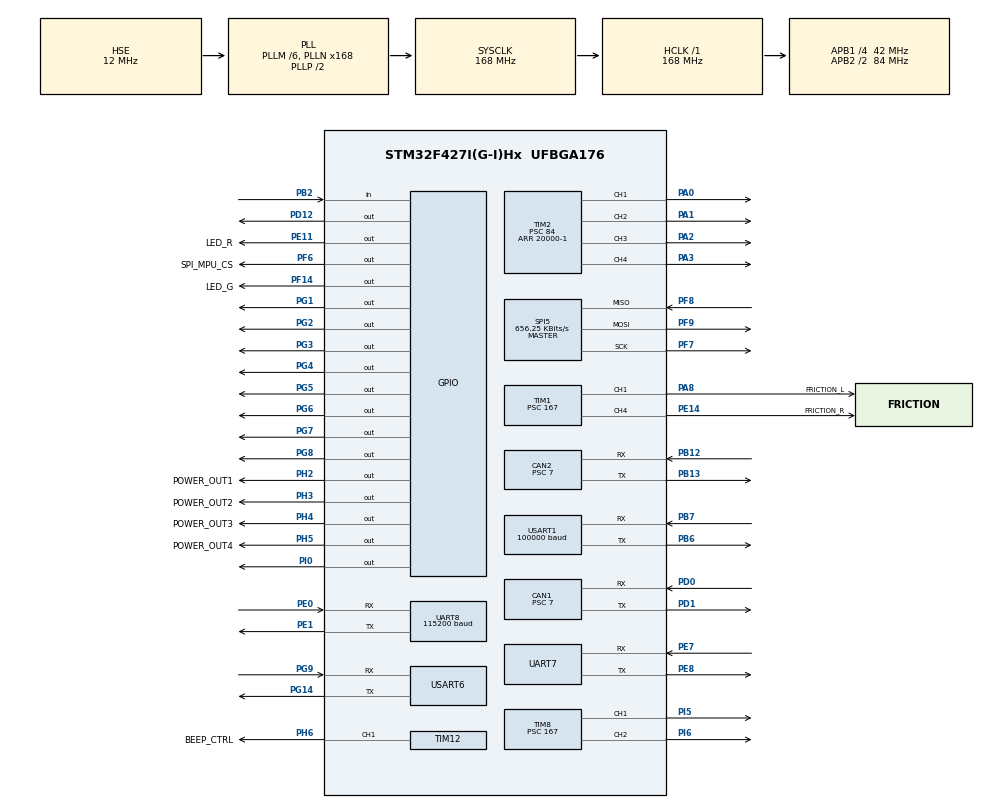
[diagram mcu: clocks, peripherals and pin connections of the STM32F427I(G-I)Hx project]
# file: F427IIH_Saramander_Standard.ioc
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CAN1.BS1=CAN_BS1_2TQ
CAN1.BS2=CAN_BS2_3TQ
CAN1.CalculateTimeQuantum=166.66666666666669
CAN1.Prescaler=7
CAN1.TXFP=ENABLE
CAN2.BS1=CAN_BS1_2TQ
CAN2.BS2=CAN_BS2_3TQ
CAN2.CalculateTimeQuantum=166.66666666666669
CAN2.Prescaler=7
CAN2.TXFP=ENABLE
Mcu.Family=STM32F4
Mcu.Name=STM32F427I(G-I)Hx
Mcu.Package=UFBGA176
NVIC.CAN1_RX0_IRQn=true\:0\:0\:false\:false\:true\:true\:true
NVIC.CAN1_RX1_IRQn=true\:0\:0\:false\:false\:true\:true\:true
NVIC.CAN2_RX0_IRQn=true\:0\:0\:false\:false\:true\:true\:true
NVIC.CAN2_RX1_IRQn=true\:0\:0\:false\:false\:true\:true\:true
NVIC.PriorityGroup=NVIC_PRIORITYGROUP_4
NVIC.TIM6_DAC_IRQn=true\:1\:0\:true\:false\:true\:true\:true
NVIC.USART1_IRQn=true\:0\:0\:false\:false\:true\:true\:true
NVIC.USART6_IRQn=true\:0\:0\:false\:false\:true\:true\:true
PA0/WKUP.Signal=S_TIM2_CH1_ETR
PA1.Signal=S_TIM2_CH2
PA13.Mode=Serial_Wire
PA13.Signal=SYS_JTMS-SWDIO
PA14.Mode=Serial_Wire
PA14.Signal=SYS_JTCK-SWCLK
PA2.Signal=S_TIM2_CH3
PA3.Signal=S_TIM2_CH4
PA8.GPIO_Label=FRICTION_L
PA8.Signal=S_TIM1_CH1
PB12.Mode=Slave
PB12.Signal=CAN2_RX
PB13.Mode=Slave
PB13.Signal=CAN2_TX
PB2/BOOT1.Signal=GPIO_Input
PB6.Mode=Asynchronous
PB6.Signal=USART1_TX
PB7.Mode=Asynchronous
PB7.Signal=USART1_RX
PD0.Mode=Master
PD0.Signal=CAN1_RX
PD1.Mode=Master
PD1.Signal=CAN1_TX
PD12.Signal=GPIO_Output
PE0.Mode=Asynchronous
PE0.Signal=UART8_RX
PE1.Mode=Asynchronous
PE1.Signal=UART8_TX
PE11.GPIO_Label=LED_R
PE11.Signal=GPIO_Output
PE14.GPIO_Label=FRICTION_R
PE14.Signal=S_TIM1_CH4
PE7.Mode=Asynchronous
PE7.Signal=UART7_RX
PE8.Mode=Asynchronous
PE8.Signal=UART7_TX
PF14.GPIO_Label=LED_G
PF14.Signal=GPIO_Output
PF6.GPIO_Label=SPI_MPU_CS
PF6.Signal=GPIO_Output
PF7.Mode=Full_Duplex_Master
PF7.Signal=SPI5_SCK
PF8.Mode=Full_Duplex_Master
PF8.Signal=SPI5_MISO
PF9.Mode=Full_Duplex_Master
PF9.Signal=SPI5_MOSI
PG1.Signal=GPIO_Output
PG14.Mode=Asynchronous
PG14.Signal=USART6_TX
PG2.Signal=GPIO_Output
PG3.Signal=GPIO_Output
PG4.Signal=GPIO_Output
PG5.Signal=GPIO_Output
PG6.Signal=GPIO_Output
PG7.Signal=GPIO_Output
PG8.Signal=GPIO_Output
PG9.Mode=Asynchronous
PG9.Signal=USART6_RX
PH0/OSC_IN.Mode=HSE-External-Oscillator
PH0/OSC_IN.Signal=RCC_OSC_IN
PH1/OSC_OUT.Mode=HSE-External-Oscillator
PH1/OSC_OUT.Signal=RCC_OSC_OUT
PH2.GPIO_Label=POWER_OUT1
PH2.Signal=GPIO_Output
PH3.GPIO_Label=POWER_OUT2
PH3.Signal=GPIO_Output
PH4.GPIO_Label=POWER_OUT3
PH4.Signal=GPIO_Output
PH5.GPIO_Label=POWER_OUT4
PH5.Signal=GPIO_Output
PH6.GPIO_Label=BEEP_CTRL
PH6.Signal=S_TIM12_CH1
PI0.Signal=GPIO_Output
PI5.Signal=S_TIM8_CH1
PI6.Signal=S_TIM8_CH2
ProjectManager.HeapSize=0x200
ProjectManager.StackSize=0x400
ProjectManager.TargetToolchain=STM32CubeIDE
RCC.48MHZClocksFreq_Value=84000000
RCC.AHBFreq_Value=168000000
RCC.APB1CLKDivider=RCC_HCLK_DIV4
RCC.APB1Freq_Value=42000000
RCC.APB1TimFreq_Value=84000000
RCC.APB2CLKDivider=RCC_HCLK_DIV2
RCC.APB2Freq_Value=84000000
RCC.APB2TimFreq_Value=168000000
RCC.CortexFreq_Value=168000000
RCC.HCLKFreq_Value=168000000
RCC.HSE_VALUE=12000000
RCC.HSI_VALUE=16000000
RCC.LSE_VALUE=32768
RCC.PLLM=6
RCC.PLLN=168
RCC.PLLSourceVirtual=RCC_PLLSOURCE_HSE
RCC.SYSCLKFreq_VALUE=168000000
RCC.SYSCLKSource=RCC_SYSCLKSOURCE_PLLCLK
RCC.VCOOutputFreq_Value=336000000
SH.S_TIM12_CH1.0=TIM12_CH1,PWM Generation1 CH1
SH.S_TIM1_CH1.0=TIM1_CH1,PWM Generation1 CH1
SH.S_TIM1_CH4.0=TIM1_CH4,PWM Generation4 CH4
SH.S_TIM2_CH1_ETR.0=TIM2_CH1,PWM Generation1 CH1
SH.S_TIM2_CH2.0=TIM2_CH2,PWM Generation2 CH2
SH.S_TIM2_CH3.0=TIM2_CH3,PWM Generation3 CH3
SH.S_TIM2_CH4.0=TIM2_CH4,PWM Generation4 CH4
SH.S_TIM8_CH1.0=TIM8_CH1,PWM Generation1 CH1
SH.S_TIM8_CH2.0=TIM8_CH2,PWM Generation2 CH2
SPI5.BaudRatePrescaler=SPI_BAUDRATEPRESCALER_128
SPI5.CalculateBaudRate=656.25 KBits/s
SPI5.Direction=SPI_DIRECTION_2LINES
SPI5.Mode=SPI_MODE_MASTER
SPI5.VirtualType=VM_MASTER
TIM1.Channel-PWM\ Generation1\ CH1=TIM_CHANNEL_1
TIM1.Channel-PWM\ Generation4\ CH4=TIM_CHANNEL_4
TIM1.Period=20000-1
TIM1.Prescaler=167
TIM1.Pulse-PWM\ Generation1\ CH1=1000
TIM1.Pulse-PWM\ Generation4\ CH4=1000
TIM12.Channel-PWM\ Generation1\ CH1=TIM_CHANNEL_1
TIM12.Period=20000-1
TIM12.Prescaler=83
TIM2.Channel-PWM\ Generation1\ CH1=TIM_CHANNEL_1
TIM2.Channel-PWM\ Generation2\ CH2=TIM_CHANNEL_2
TIM2.Channel-PWM\ Generation3\ CH3=TIM_CHANNEL_3
TIM2.Channel-PWM\ Generation4\ CH4=TIM_CHANNEL_4
TIM2.Period=20000-1
TIM2.Prescaler=84
TIM6.Period=16800
TIM6.Prescaler=10-1
TIM8.Channel-PWM\ Generation1\ CH1=TIM_CHANNEL_1
TIM8.Channel-PWM\ Generation2\ CH2=TIM_CHANNEL_2
TIM8.Period=20000-1
TIM8.Prescaler=167
UART7.VirtualMode=Asynchronous
UART8.BaudRate=115200
UART8.VirtualMode=Asynchronous
UART8.WordLength=WORDLENGTH_8B
USART1.BaudRate=100000
USART1.VirtualMode=VM_ASYNC
USART6.VirtualMode=VM_ASYNC
VP_TIM6_VS_ClockSourceINT.Mode=Enable_Timer
board=custom

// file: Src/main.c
/* USER CODE BEGIN Header */
/**
  ******************************************************************************
  * @file           : main.c
  * @brief          : Main program body
  ******************************************************************************
  * @attention
  *
  * <h2><center>&copy; Copyright (c) 2019 STMicroelectronics.
  * All rights reserved.</center></h2>
  *
  * This software component is licensed by ST under BSD 3-Clause license,
  * the "License"; You may not use this file except in compliance with the
  * License. You may obtain a copy of the License at:
  *                        opensource.org/licenses/BSD-3-Clause
  *
  ******************************************************************************
  */
/* USER CODE END Header */

#include "main.h"
#include "can.h"
#include "spi.h"
#include "tim.h"
#include "usart.h"
#include "gpio.h"

/* USER CODE BEGIN Includes */
#include "managemet.h"
/* USER CODE END Includes */

/* USER CODE BEGIN PD */

const int yaw_MAX=70;
const int yaw_magnification=20;
const int pich_MAX=30;
const int pich_magnification=50;
/* USER CODE END PD */

/* USER CODE BEGIN PV */
/* Private variables ---------------------------------------------------------*/
#ifdef __GNUC__
#define PUTCHAR_PROTOTYPE int __io_putchar(int ch)
#else
#define PUTCHAR_PROTOTYPE int fputc(int ch, FILE *f)
#endif /* __GNUC__ */
void __io_putchar(uint8_t ch) {
HAL_UART_Transmit(&huart7, &ch, 1, 1);
}

/* USER CODE END PV */

void SystemClock_Config(void);
/* USER CODE BEGIN PFP */
/* Private function prototypes -----------------------------------------------*/
void timerTask();
void initPID();
void initMecanum();
void driveWheelTask();
void initFriction();
void initLoadPID();
void Gimbal_Task();
void fire_Task();
void fire_task_open();
/* USER CODE END PFP */

/* USER CODE BEGIN 0 */
long map(long x, long in_min, long in_max, long out_min, long out_max) {
	  return (x - in_min) * (out_max - out_min) / (in_max - in_min) + out_min;
}
void timerTask() ;
uint8_t cnt_tim,cnt_tim_fire,cnt_tim_task,cnt_time_main;
uint16_t cnt_tim_omega,feed_forward_param;
uint16_t sw1_cnt=1220;
uint8_t rc_SW1_temp,rc_W_temp;
uint32_t RC_time;
uint8_t customdataPacket[28];

/* USER CODE END 0 */

int main(void)
{

  /* MCU Configuration--------------------------------------------------------*/

  /* Reset of all peripherals, Initializes the Flash interface and the Systick. */
  HAL_Init();

  /* Configure the system clock */
  SystemClock_Config();

  /* Initialize all configured peripherals */
  MX_GPIO_Init();
  MX_CAN1_Init();
  MX_CAN2_Init();
  MX_SPI5_Init();
  MX_TIM1_Init();
  MX_TIM6_Init();
  MX_TIM12_Init();
  MX_UART7_Init();
  MX_UART8_Init();
  MX_USART1_UART_Init();
  MX_USART6_UART_Init();
  MX_TIM2_Init();
  MX_TIM8_Init();
  /* USER CODE BEGIN 2 */
  HAL_UART_Receive_IT(&huart1, rcData, 18);

  HAL_GPIO_WritePin(GPIOE, GPIO_PIN_11, 0);
  HAL_GPIO_WritePin(LED_G_GPIO_Port, LED_G_Pin, 1);
  HAL_GPIO_WritePin(GPIOG, GPIO_PIN_1, 1);
  HAL_GPIO_WritePin(GPIOG, GPIO_PIN_2, 1);
  HAL_GPIO_WritePin(GPIOG, GPIO_PIN_3, 1);
  HAL_GPIO_WritePin(GPIOG, GPIO_PIN_4, 1);
  HAL_GPIO_WritePin(GPIOG, GPIO_PIN_5, 1);
  HAL_GPIO_WritePin(GPIOG, GPIO_PIN_6, 1);
  HAL_GPIO_WritePin(GPIOG, GPIO_PIN_7, 1);
  HAL_GPIO_WritePin(GPIOG, GPIO_PIN_8, 1);
  HAL_GPIO_WritePin(GPIOD, GPIO_PIN_12, 0);
  sConfigOC.Pulse = map(90,0,180,500,2500);
  HAL_TIM_PWM_ConfigChannel(&htim2, &sConfigOC, TIM_CHANNEL_1);
  HAL_TIM_PWM_Start(&htim2, TIM_CHANNEL_1);
  sConfigOC.Pulse = map(90,0,180,500,2500);
  HAL_TIM_PWM_ConfigChannel(&htim2, &sConfigOC, TIM_CHANNEL_2);
  HAL_TIM_PWM_Start(&htim2, TIM_CHANNEL_2);
  sConfigOC.Pulse = map(145,0,180,500,2500);
  HAL_TIM_PWM_ConfigChannel(&htim2, &sConfigOC, TIM_CHANNEL_3);
  HAL_TIM_PWM_Start(&htim2, TIM_CHANNEL_3);
  sConfigOC.Pulse = map(145,0,180,500,2500);
  HAL_TIM_PWM_ConfigChannel(&htim2, &sConfigOC, TIM_CHANNEL_4);
  HAL_TIM_PWM_Start(&htim2, TIM_CHANNEL_4);

  mpu_device_init();
  mpu_offset_call();

  HAL_TIM_PWM_Start(&htim8, TIM_CHANNEL_1); // friction wheel
  HAL_TIM_PWM_Start(&htim8, TIM_CHANNEL_2);
  initFriction();
  initPID();
  initLoadPID();
  initCanFilter();
  initMecanum();
  HAL_TIM_Base_Start_IT(&htim6);
  setbuf(stdout, NULL);
  HAL_CAN_Start(&hcan1);
  HAL_CAN_Start(&hcan2);
  HAL_CAN_ActivateNotification(&hcan1, CAN_IT_RX_FIFO0_MSG_PENDING);
  HAL_CAN_ActivateNotification(&hcan2, CAN_IT_RX_FIFO0_MSG_PENDING);
  HAL_GPIO_WritePin(POWER_OUT1_GPIO_Port, POWER_OUT1_Pin, 1);
  HAL_GPIO_WritePin(POWER_OUT2_GPIO_Port, POWER_OUT2_Pin, 1);
  HAL_GPIO_WritePin(POWER_OUT3_GPIO_Port, POWER_OUT3_Pin, 1);
  HAL_GPIO_WritePin(POWER_OUT4_GPIO_Port, POWER_OUT4_Pin, 1);
  HAL_GPIO_WritePin(GPIOE, GPIO_PIN_11, 1);

  //CustomData_init(3,0x0103);  //red-3
  //CustomData_init(4,0x0104);  //red-4
  //CustomData_init(5,0x0105);  //red-5
  CustomData_init(13,0x0113);  //blue-3
  //CustomData_init(14,0x0114);  //blue-4
  //CustomData_init(15,0x0115);  //blue-5

  IMU_pich_set=imu_attitude.pitch;
  IMU_yaw_set=imu_attitude.yaw;
  IMU_rol_set=imu_attitude.roll;
  PC_mouse_x=0;
  PC_mouse_y=0;
  /* USER CODE END 2 */

  /* Infinite loop */
  while (1)
  {

    /* USER CODE BEGIN 3 */

	  if(HAL_GPIO_ReadPin(GPIOB, GPIO_PIN_2)==1 || rc.sw1==2 || rc.key_Ctrl==1){
		  IMU_pich_set=imu_attitude.pitch;
		  IMU_yaw_set=imu_attitude.yaw;
		  IMU_rol_set=imu_attitude.roll;
	  }

	  //printf(" Roll:%8.3lf  Pitch:%8.3lf  Yaw:%8.3lf", IMU_rol, IMU_pich, IMU_yaw);
	   //printf(" Roll_set:%8.3lf  Pitch_set:%8.3lf  Yaw_set:%8.3lf", IMU_rol_set, IMU_pich_set, IMU_yaw_set);
	   //printf(" target_Pitch:%d target_Yaw:%d now_Pit:%d now_Yaw:%d", target_pich,target_yaw,pich_now,yaw_now);
	   //printf(" RC_time=%d",(int)RC_time);
	   //printf("ch1=%d ch2=%d ch3=%d ch4=%d ch5=%d sw1=%d sw2=%d m_x=%d m_y=%d m_z=%d m_l=%d m_r=%d W=%d S=%d A=%d D=%d Q=%d E=%d Shift=%d Ctrl=%d"
	  //	 ,rc.ch1,rc.ch2,rc.ch3,rc.ch4,rc.ch5,rc.sw1,rc.sw2,rc.mouse_x, rc.mouse_y, rc.mouse_z,rc.mouse_press_l,rc.mouse_press_r
	//		 ,rc.key_W,rc.key_S,rc.key_A,rc.key_D,rc.key_Q,rc.key_E,rc.key_Shift,rc.key_Ctrl);
	  //printf("PC_mouse_x=%d PC_mouse_y=%d",PC_mouse_x,PC_mouse_y);
	  //printf("M0=%d M1=%d M2=%d M3=%d",wheelFdb[0].rpm,wheelFdb[1].rpm,wheelFdb[2].rpm,wheelFdb[3].rpm);
	  //printf(" ch5=%d vw=%f cnt=%d",rc.ch5,mecanum.speed.vw,cnt_tim_omega);
	  //printf(" target_yaw=%d angle=%f",target_yaw,(float)((gimbalYawFdb.angle-4096.0)/8191.0*360.0));
	  printf("torque M0=%8.3lf M1=%8.3lf M2=%8.3lf M3=%8.3lf",(float)wheelFdb[0].torque/16384.0*20.0,(float)wheelFdb[1].torque/16384.0*20.0
	    			  ,(float)wheelFdb[2].torque/16384.0*20.0,(float)wheelFdb[3].torque/16384.0*20.0);
	   //printf(" =%d",(int)cnt_time_main);
	   printf("\r\n");

		if(cnt_time_main>=10){
		    setData1(IMU_pich);
		    setData2(IMU_yaw);
		    setData3((float)yaw_now);
		    	 if(yaw_now>=-75 && yaw_now<=-55){setMasks(0b011111);}
		    else if(yaw_now>=-55 && yaw_now<=-45){setMasks(0b001111);}
		    else if(yaw_now>=-45 && yaw_now<=-35){setMasks(0b101111);}
		    else if(yaw_now>=-35 && yaw_now<=-20){setMasks(0b100111);}
		    else if(yaw_now>=-20 && yaw_now<=-10){setMasks(0b110111);}
		    else if(yaw_now>=-10 && yaw_now<= 10){setMasks(0b110011);}
		    else if(yaw_now>= 10 && yaw_now<= 20){setMasks(0b111011);}
		    else if(yaw_now>= 20 && yaw_now<= 35){setMasks(0b111001);}
		    else if(yaw_now>= 35 && yaw_now<= 45){setMasks(0b111101);}
		    else if(yaw_now>= 45 && yaw_now<= 55){setMasks(0b111100);}
		    else if(yaw_now>= 55 && yaw_now<= 75){setMasks(0b111110);}
		    else  								 {setMasks(0b000000);}
		    makeCustomDataPacket(customdataPacket);
		    HAL_UART_Transmit(&huart8, (uint8_t *)customdataPacket, 28,100);
			cnt_time_main=0;
		}
		else{
			cnt_time_main++;
		}
  }
  /* USER CODE END 3 */
}

void SystemClock_Config(void)
{
  RCC_OscInitTypeDef RCC_OscInitStruct = {0};
  RCC_ClkInitTypeDef RCC_ClkInitStruct = {0};

  /** Configure the main internal regulator output voltage
  */
  __HAL_RCC_PWR_CLK_ENABLE();
  __HAL_PWR_VOLTAGESCALING_CONFIG(PWR_REGULATOR_VOLTAGE_SCALE1);
  /** Initializes the CPU, AHB and APB busses clocks
  */
  RCC_OscInitStruct.OscillatorType = RCC_OSCILLATORTYPE_HSE;
  RCC_OscInitStruct.HSEState = RCC_HSE_ON;
  RCC_OscInitStruct.PLL.PLLState = RCC_PLL_ON;
  RCC_OscInitStruct.PLL.PLLSource = RCC_PLLSOURCE_HSE;
  RCC_OscInitStruct.PLL.PLLM = 6;
  RCC_OscInitStruct.PLL.PLLN = 168;
  RCC_OscInitStruct.PLL.PLLP = RCC_PLLP_DIV2;
  RCC_OscInitStruct.PLL.PLLQ = 4;
  if (HAL_RCC_OscConfig(&RCC_OscInitStruct) != HAL_OK)
  {
    Error_Handler();
  }
  /** Initializes the CPU, AHB and APB busses clocks
  */
  RCC_ClkInitStruct.ClockType = RCC_CLOCKTYPE_HCLK|RCC_CLOCKTYPE_SYSCLK
                              |RCC_CLOCKTYPE_PCLK1|RCC_CLOCKTYPE_PCLK2;
  RCC_ClkInitStruct.SYSCLKSource = RCC_SYSCLKSOURCE_PLLCLK;
  RCC_ClkInitStruct.AHBCLKDivider = RCC_SYSCLK_DIV1;
  RCC_ClkInitStruct.APB1CLKDivider = RCC_HCLK_DIV4;
  RCC_ClkInitStruct.APB2CLKDivider = RCC_HCLK_DIV2;

  if (HAL_RCC_ClockConfig(&RCC_ClkInitStruct, FLASH_LATENCY_5) != HAL_OK)
  {
    Error_Handler();
  }
}

/* USER CODE BEGIN 4 */
void HAL_TIM_PeriodElapsedCallback(TIM_HandleTypeDef *htim) {
	if (htim->Instance == htim6.Instance) {
		//1kHz
		mpu_get_data();
		imu_sensor.ax=imu.ax;
		imu_sensor.ay=imu.ay;
		imu_sensor.az=imu.az;
		imu_sensor.mx=imu.mx;
		imu_sensor.my=imu.my;
		imu_sensor.mz=imu.mz;
		imu_sensor.wx=imu.wx;
		imu_sensor.wy=imu.wy;
		imu_sensor.wz=imu.wz;
		madgwick_ahrs_updateIMU(&imu_sensor, &imu_attitude);

		IMU_pich=(imu_attitude.pitch)-IMU_pich_set;
		if(IMU_pich>  90.0){IMU_pich=IMU_pich-180;}
		if(IMU_pich< -90.0){IMU_pich=IMU_pich+180;}
		IMU_yaw=(imu_attitude.yaw)-IMU_yaw_set;
		if(IMU_yaw>  180.0){IMU_yaw=IMU_yaw-360;}
		if(IMU_yaw< -180.0){IMU_yaw=IMU_yaw+360;}
		IMU_rol=(imu_attitude.roll)-IMU_rol_set;
		if(IMU_rol>  180.0){IMU_rol=IMU_rol-360;}
		if(IMU_rol< -180.0){IMU_rol=IMU_rol+360;}

		if(cnt_tim_task>1){
		//500Hz
		timerTask();
		cnt_tim_task=0;
		}
		cnt_tim_task++;

		if(cnt_tim>40){
			HAL_GPIO_TogglePin(LED_G_GPIO_Port, LED_G_Pin);
			cnt_tim=0;
		}
		cnt_tim++;

		RC_time++;
		if(RC_time>20000){
			NVIC_SystemReset();
		}
	}
}

void HAL_UART_RxCpltCallback(UART_HandleTypeDef *UartHandle) {
	if (UartHandle->Instance == huart1.Instance) {	//Propo-receive Interrupts
		HAL_UART_Receive_IT(&huart1, rcData, 18);
		HAL_GPIO_TogglePin(GPIOG,GPIO_PIN_1);
		rc.ch1 = (((rcData[1] & 0x07) << 8) | rcData[0]);
		rc.ch1 -= 1024;
		rc.ch2 = (((rcData[2] & 0x3F) << 5) | (rcData[1] >> 3));
		rc.ch2 -= 1024;
		rc.ch3 = (((rcData[4] & 0x01) << 10) | (rcData[3] << 2) | (rcData[2] >> 6));
		rc.ch3 -= 1024;
		rc.ch4 = (((rcData[5] & 0x0F) << 7) | (rcData[4] >> 1));
		rc.ch4 -= 1024;
		rc.ch5 = (rcData[17]<<8) | rcData[16];
		rc.ch5 = 1024-rc.ch5;
		rc.sw1 = ((rcData[5] & 0x30) >> 4);
		rc.sw2 = ((rcData[5] & 0xC0) >> 6);
		rc.mouse_x = ((int16_t)rcData[6]) | ((int16_t)rcData[7] << 8);
		rc.mouse_y = ((int16_t)rcData[8]) | ((int16_t)rcData[9] << 8);
		rc.mouse_z = ((int16_t)rcData[10]) | ((int16_t)rcData[11] << 8);
		rc.mouse_press_r = rcData[12];
		rc.mouse_press_l = rcData[13];
		rc.key_v = ((int16_t)rcData[14]);
		rc.key_W =     (0b0000000000000001 & rc.key_v);
		rc.key_S =     (0b0000000000000010 & rc.key_v)>>1;
		rc.key_A =     (0b0000000000000100 & rc.key_v)>>2;
		rc.key_D =     (0b0000000000001000 & rc.key_v)>>3;
		rc.key_Shift = (0b0000000000010000 & rc.key_v)>>4;
		rc.key_Ctrl =  (0b0000000000100000 & rc.key_v)>>5;
		rc.key_Q =     (0b0000000001000000 & rc.key_v)>>6;
		rc.key_E =     (0b0000000010000000 & rc.key_v)>>7;

		if ((abs(rc.ch5) > 660) ||(abs(rc.ch3) > 660) ||(abs(rc.ch4) > 660)){
			NVIC_SystemReset();
		  }
		else{
			 RC_time=0;
		}

		if(rc.sw2==2 || rc.key_E==1){
			PC_mouse_x=0;
			PC_mouse_y=0;
		}
		else{
			if(rc.mouse_press_l==1){
			PC_mouse_x=PC_mouse_x+rc.mouse_x*(-1);
			PC_mouse_y=PC_mouse_y+rc.mouse_y;
			if(PC_mouse_y > pich_MAX*pich_magnification){	PC_mouse_y = pich_MAX*pich_magnification;}
			if(PC_mouse_y < -1*pich_MAX*pich_magnification){PC_mouse_y = -1*pich_MAX*pich_magnification;}
			if(PC_mouse_x > yaw_MAX*yaw_magnification){		PC_mouse_x = yaw_MAX*yaw_magnification;}
			if(PC_mouse_x < -1*yaw_MAX*yaw_magnification){	PC_mouse_x = -1*yaw_MAX*yaw_magnification;}
			}
		}

	}
}

//can fifo0 receive interrupt
void HAL_CAN_RxFifo0MsgPendingCallback(CAN_HandleTypeDef *hcan) {
	/* Get RX message */
	if (hcan->Instance == hcan2.Instance) {// can2 bus receive interrupt
		HAL_CAN_GetRxMessage(hcan, CAN_RX_FIFO0, &canRxHeader, canRxData);
		//check ESC identifier
		int id = canRxHeader.StdId - 513;

		wheelFdb[id].angle = canRxData[0] * 256 + canRxData[1];
		wheelFdb[id].rpm = canRxData[2] * 256 + canRxData[3];
		wheelFdb[id].torque = canRxData[4] * 256 + canRxData[5];
		wheelFdb[id].temp = canRxData[6];
		wheelFdb[id].omg = 6.28318530718 * (wheelFdb[id].rpm) / 1140.0;
	}
	if (hcan->Instance == hcan1.Instance) {// can1 bus receive interrupt
		HAL_CAN_GetRxMessage(hcan, CAN_RX_FIFO0, &canRxHeader, canRxData);
		motor_fdb *fdb = 0;
		switch (canRxHeader.StdId) {
		case 0x205:
			fdb = &gimbalYawFdb;
			break;
		case 0x206:
			fdb = &gimbalPitchFdb;
			break;
		case 0x207:
			fdb = &loadMotorFdb;
			break;
		}
		fdb->angle = canRxData[0] * 256 + canRxData[1];
		fdb->rpm = canRxData[2] * 256 + canRxData[3];
		fdb->torque = canRxData[4] * 256 + canRxData[5];
		fdb->temp = canRxData[6];
		fdb->omg = 6.28318530718 * (fdb->rpm) / 1140.0;
	}
}

void driveWheelTask() {
	float vx_temp,vy_temp;
    float MAX_CHASSIS_VX_SPEED_calc,MAX_CHASSIS_VY_SPEED_calc,MAX_CHASSIS_VW_SPEED_calc;
	float torque_sum=0.0;

	MAX_CHASSIS_VX_SPEED_calc= MAX_CHASSIS_VX_SPEED;
	MAX_CHASSIS_VY_SPEED_calc= MAX_CHASSIS_VY_SPEED;
    MAX_CHASSIS_VW_SPEED_calc= MAX_CHASSIS_VW_SPEED;

    torque_sum = fabs((float)wheelFdb[0].torque/16384.0*20.0)+fabs((float)wheelFdb[1].torque/16384.0*20.0)
    		    +fabs((float)wheelFdb[2].torque/16384.0*20.0)+fabs((float)wheelFdb[3].torque/16384.0*20.0);

	if(rc.sw2==1|| rc.key_W==1){
		if(cnt_tim_omega<=100)     {mecanum.speed.vw=-(float)(rc.ch5-270.0)/660.0*MAX_CHASSIS_VW_SPEED;feed_forward_param=-5;}
		else if(cnt_tim_omega<=150){mecanum.speed.vw=-(float)(rc.ch5-220.0)/660.0*MAX_CHASSIS_VW_SPEED;feed_forward_param=-4;}
		else if(cnt_tim_omega<=199){mecanum.speed.vw=-(float)(rc.ch5- 90.0)/660.0*MAX_CHASSIS_VW_SPEED;feed_forward_param=-2;}
		else if(cnt_tim_omega==200){mecanum.speed.vw=-(float)(rc.ch5-  0.0)/660.0*MAX_CHASSIS_VW_SPEED;feed_forward_param=0;}
		else if(cnt_tim_omega<=250){mecanum.speed.vw=-(float)(rc.ch5+ 90.0)/660.0*MAX_CHASSIS_VW_SPEED;feed_forward_param=2;}
		else if(cnt_tim_omega<=300){mecanum.speed.vw=-(float)(rc.ch5+220.0)/660.0*MAX_CHASSIS_VW_SPEED;feed_forward_param=4;}
		else if(cnt_tim_omega<=400){mecanum.speed.vw=-(float)(rc.ch5+270.0)/660.0*MAX_CHASSIS_VW_SPEED;feed_forward_param=5;}
		else if(cnt_tim_omega<=500){mecanum.speed.vw=-(float)(rc.ch5+270.0)/660.0*MAX_CHASSIS_VW_SPEED;feed_forward_param=5;}
		else if(cnt_tim_omega<=550){mecanum.speed.vw=-(float)(rc.ch5+220.0)/660.0*MAX_CHASSIS_VW_SPEED;feed_forward_param=4;}
		else if(cnt_tim_omega<=599){mecanum.speed.vw=-(float)(rc.ch5+ 90.0)/660.0*MAX_CHASSIS_VW_SPEED;feed_forward_param=2;}
		else if(cnt_tim_omega==600){mecanum.speed.vw=-(float)(rc.ch5+  0.0)/660.0*MAX_CHASSIS_VW_SPEED;feed_forward_param=0;}
		else if(cnt_tim_omega<=650){mecanum.speed.vw=-(float)(rc.ch5- 90.0)/660.0*MAX_CHASSIS_VW_SPEED;feed_forward_param=-2;}
		else if(cnt_tim_omega<=700){mecanum.speed.vw=-(float)(rc.ch5-220.0)/660.0*MAX_CHASSIS_VW_SPEED;feed_forward_param=-4;}
		else if(cnt_tim_omega<=800){mecanum.speed.vw=-(float)(rc.ch5-270.0)/660.0*MAX_CHASSIS_VW_SPEED;feed_forward_param=-5;}
		cnt_tim_omega++;
		if(cnt_tim_omega>800){cnt_tim_omega=0;}

		vx_temp =  (float) rc.ch4 / 660.0 * MAX_CHASSIS_VX_SPEED_calc*0.7;
		vy_temp = -(float) rc.ch3 / 660.0 * MAX_CHASSIS_VY_SPEED_calc*0.7;

		mecanum.speed.vx = vx_temp*cos((IMU_yaw+feed_forward_param)*M_PI/180.0)
								- vy_temp*sin((IMU_yaw+feed_forward_param)*M_PI/180.0);
		mecanum.speed.vy = vx_temp*sin((IMU_yaw+feed_forward_param)*M_PI/180.0)
								+ vy_temp*cos((IMU_yaw+feed_forward_param)*M_PI/180.0);
	}
	else{
		cnt_tim_omega=0;
		feed_forward_param=0;
		//mecanum.speed.vw = -(float)rc.ch5 / 660.0 * MAX_CHASSIS_VW_SPEED_calc;
		mecanum.speed.vw = -(float)(rc.ch5*log(abs(rc.ch5)+1.0)*0.153) / 660.0 * MAX_CHASSIS_VW_SPEED_calc;
		mecanum.speed.vx =  (float)(rc.ch4*log(abs(rc.ch4)+1.0)*0.153)/ 660.0 * MAX_CHASSIS_VX_SPEED_calc;
		mecanum.speed.vy = -(float)(rc.ch3*log(abs(rc.ch3)+1.0)*0.153)/ 660.0 * MAX_CHASSIS_VY_SPEED_calc;

	}

	mecanum_calculate(&mecanum);

	int16_t u[4];
	for (int i = 0; i < 4; i++) {
		int error = mecanum.wheel_rpm[i] - wheelFdb[i].rpm;
		wheelPID[i].error = error;
		u[i] = (int16_t) pidExecute(&(wheelPID[i]));

		if(torque_sum>5.0){
			for (int i = 0; i < 4; i++) {
				u[i] = 0;
			}
		}
	}
	driveWheel(u);

}

void initMecanum() {
	mecanum.param.wheel_perimeter = PERIMETER;
	mecanum.param.wheeltrack = WHEELTRACK;
	mecanum.param.wheelbase = WHEELBASE;
	mecanum.param.rotate_x_offset = 0;
	mecanum.param.rotate_y_offset = 0;
}

void initFriction() {
	for(int i=0;i<2500;i++){
	__HAL_TIM_SET_COMPARE(&htim8, TIM_CHANNEL_1, 1500);
	__HAL_TIM_SET_COMPARE(&htim8, TIM_CHANNEL_2, 1500);
	mpu_get_data();
	imu_sensor.ax=imu.ax;
	imu_sensor.ay=imu.ay;
	imu_sensor.az=imu.az;
	imu_sensor.mx=imu.mx;
	imu_sensor.my=imu.my;
	imu_sensor.mz=imu.mz;
	imu_sensor.wx=imu.wx;
	imu_sensor.wy=imu.wy;
	imu_sensor.wz=imu.wz;
	madgwick_ahrs_updateIMU(&imu_sensor, &imu_attitude);
	HAL_Delay(1);
	}
	for(int i=0;i<4000;i++){
	__HAL_TIM_SET_COMPARE(&htim8, TIM_CHANNEL_1, 1220);
	__HAL_TIM_SET_COMPARE(&htim8, TIM_CHANNEL_2, 1220);
	mpu_get_data();
	imu_sensor.ax=imu.ax;
	imu_sensor.ay=imu.ay;
	imu_sensor.az=imu.az;
	imu_sensor.mx=imu.mx;
	imu_sensor.my=imu.my;
	imu_sensor.mz=imu.mz;
	imu_sensor.wx=imu.wx;
	imu_sensor.wy=imu.wy;
	imu_sensor.wz=imu.wz;
	madgwick_ahrs_updateIMU(&imu_sensor, &imu_attitude);
	HAL_Delay(1);
	}

}

void initPID() {
	for (int i = 0; i < 4; i++) {
		wheelPID[i].t = 2.0f;
		wheelPID[i].p = 3.0f;
		wheelPID[i].i = 30.0f;
		wheelPID[i].d = 0.0f;
		wheelPID[i].outLimit = 15000.0f;
		wheelPID[i].integralOutLimit = 500.0f;
		wheelPID[i].differentialFilterRate = 0.9f;
	}
}

void initLoadPID() {
	loadPID.t = 2.0f;
	loadPID.p = 10.0f;
	loadPID.i = 0.1f*500;
	loadPID.d = 0.07f;
	loadPID.outLimit = 30000.0f;
	loadPID.integralOutLimit = 10000.0f;
	loadPID.differentialFilterRate = 0.9f;
}

void timerTask() { //call 500Hz
	driveWheelTask();
	Gimbal_Task();
	fire_Task();
	fire_task_open();
}

void Gimbal_Task(){
	int fire = 0;
	int16_t u[4];
	if (rc.mouse_press_r == 1 ||  rc.ch2==660) {
		fire = 1;
		DBUFF[1] = loadPID.error = -900.0f*fire*3 - loadMotorFdb.rpm;
		DBUFF[3] = u[2] = pidExecute(&loadPID);
	}
	else {
		fire = 0;
		if(rc.ch2==-660 || rc.key_Q==1 ){
			DBUFF[1] = loadPID.error = 900.0f*2.0 - loadMotorFdb.rpm;
			DBUFF[3] = u[2] = pidExecute(&loadPID);
		}
		else{
			DBUFF[1] = loadPID.error = -900.0f*fire*3 - loadMotorFdb.rpm;
			DBUFF[3] = u[2] = pidExecute(&loadPID);
		}
	}

	if(rc.sw2==2 || rc.key_E==1){target_yaw=0;}
	else{
		if(rc.sw2==1 || rc.key_W==1){
			if(rc_SW1_temp==3 && rc.sw2==1){IMU_yaw_set=imu_attitude.yaw;}
			if(rc_W_temp==0 &&  rc.key_W==1){IMU_yaw_set=imu_attitude.yaw;}
		target_yaw =((float)PC_mouse_x / yaw_magnification)-IMU_yaw+feed_forward_param;
		if(target_yaw>70){target_yaw=70;}
		if(target_yaw<-70){target_yaw=-70;}
		}
		else{
			target_yaw=(float)PC_mouse_x / yaw_magnification;
			if(target_yaw>70){target_yaw=70;}
			if(target_yaw<-70){target_yaw=-70;}
		}
	}
	yaw_now=(float)((gimbalYawFdb.angle-4096.0)/8191.0*360.0);

	if((target_yaw-yaw_now)>50){u[0]=30000;}
	else if((target_yaw-yaw_now)<-50){u[0]=-30000;}
	else{
		u[0]=map(target_yaw-yaw_now, -50, 50, -30000, 30000)-(gimbalYawFdb.rpm*60.0);
		if(u[0]>30000){u[0]=30000;}
		if(u[0]<-30000){u[0]=-30000;}
	}

	if(rc.sw2==2 || rc.key_E==1){target_pich=0;}
	else{
		target_pich=((float)PC_mouse_y / pich_magnification)-IMU_pich;
		if(target_pich>=19){target_pich=19;}
		if(target_pich<-22){target_pich=-22;}
	}
	pich_now=(float)((gimbalPitchFdb.angle-4096.0)/8191.0*360.0)+29;
	if(pich_now>360){pich_now=pich_now-360;}

	if((pich_now+IMU_pich)>-4){HAL_GPIO_WritePin(GPIOD, GPIO_PIN_12, 1);}
	else{HAL_GPIO_WritePin(GPIOD, GPIO_PIN_12, 0);}

	if((target_pich-pich_now)>19){u[1]=30000;}
	else if((target_pich-pich_now)<-19){u[1]=-30000;}
	else{
		u[1]=map(target_pich-pich_now, -19, 19, -30000, 30000)-(gimbalPitchFdb.rpm*60.0);//param is not yet
		if(u[1]>30000){u[1]=30000;}
		if(u[1]<-30000){u[1]=-30000;}
	}

	u[3]=0;
	driveGimbalMotors(u);
	rc_SW1_temp= rc.sw2;
	rc_W_temp=rc.key_W;
}

void fire_Task(){
	if(rc.sw1==1){
		__HAL_TIM_SET_COMPARE(&htim8, TIM_CHANNEL_1, sw1_cnt);
		__HAL_TIM_SET_COMPARE(&htim8, TIM_CHANNEL_2, sw1_cnt);
		//max 1500
		if(sw1_cnt>=1450){
			sw1_cnt=1450;
		}
		else{sw1_cnt++;}
	}
	else{
		sw1_cnt=1220;
		__HAL_TIM_SET_COMPARE(&htim8, TIM_CHANNEL_1, sw1_cnt);
		__HAL_TIM_SET_COMPARE(&htim8, TIM_CHANNEL_2, sw1_cnt);
	}
}

void fire_task_open(){
	if(rc.key_Shift==1){
		sConfigOC.Pulse = map(60,0,180,500,2500);
		HAL_TIM_PWM_ConfigChannel(&htim2, &sConfigOC, TIM_CHANNEL_3);
		HAL_TIM_PWM_Start(&htim2, TIM_CHANNEL_3);

		sConfigOC.Pulse = map(60,0,180,500,2500);
		HAL_TIM_PWM_ConfigChannel(&htim2, &sConfigOC, TIM_CHANNEL_4);
		HAL_TIM_PWM_Start(&htim2, TIM_CHANNEL_4);
	}
	else{
		sConfigOC.Pulse = map(145,0,180,500,2500);
		HAL_TIM_PWM_ConfigChannel(&htim2, &sConfigOC, TIM_CHANNEL_3);
		HAL_TIM_PWM_Start(&htim2, TIM_CHANNEL_3);

		sConfigOC.Pulse = map(145,0,180,500,2500);
		HAL_TIM_PWM_ConfigChannel(&htim2, &sConfigOC, TIM_CHANNEL_4);
		HAL_TIM_PWM_Start(&htim2, TIM_CHANNEL_4);
	}
}

/* USER CODE END 4 */

void Error_Handler(void)
{
  while(1)
  {
  }
}

/************************ (C) COPYRIGHT STMicroelectronics *****END OF FILE****/
